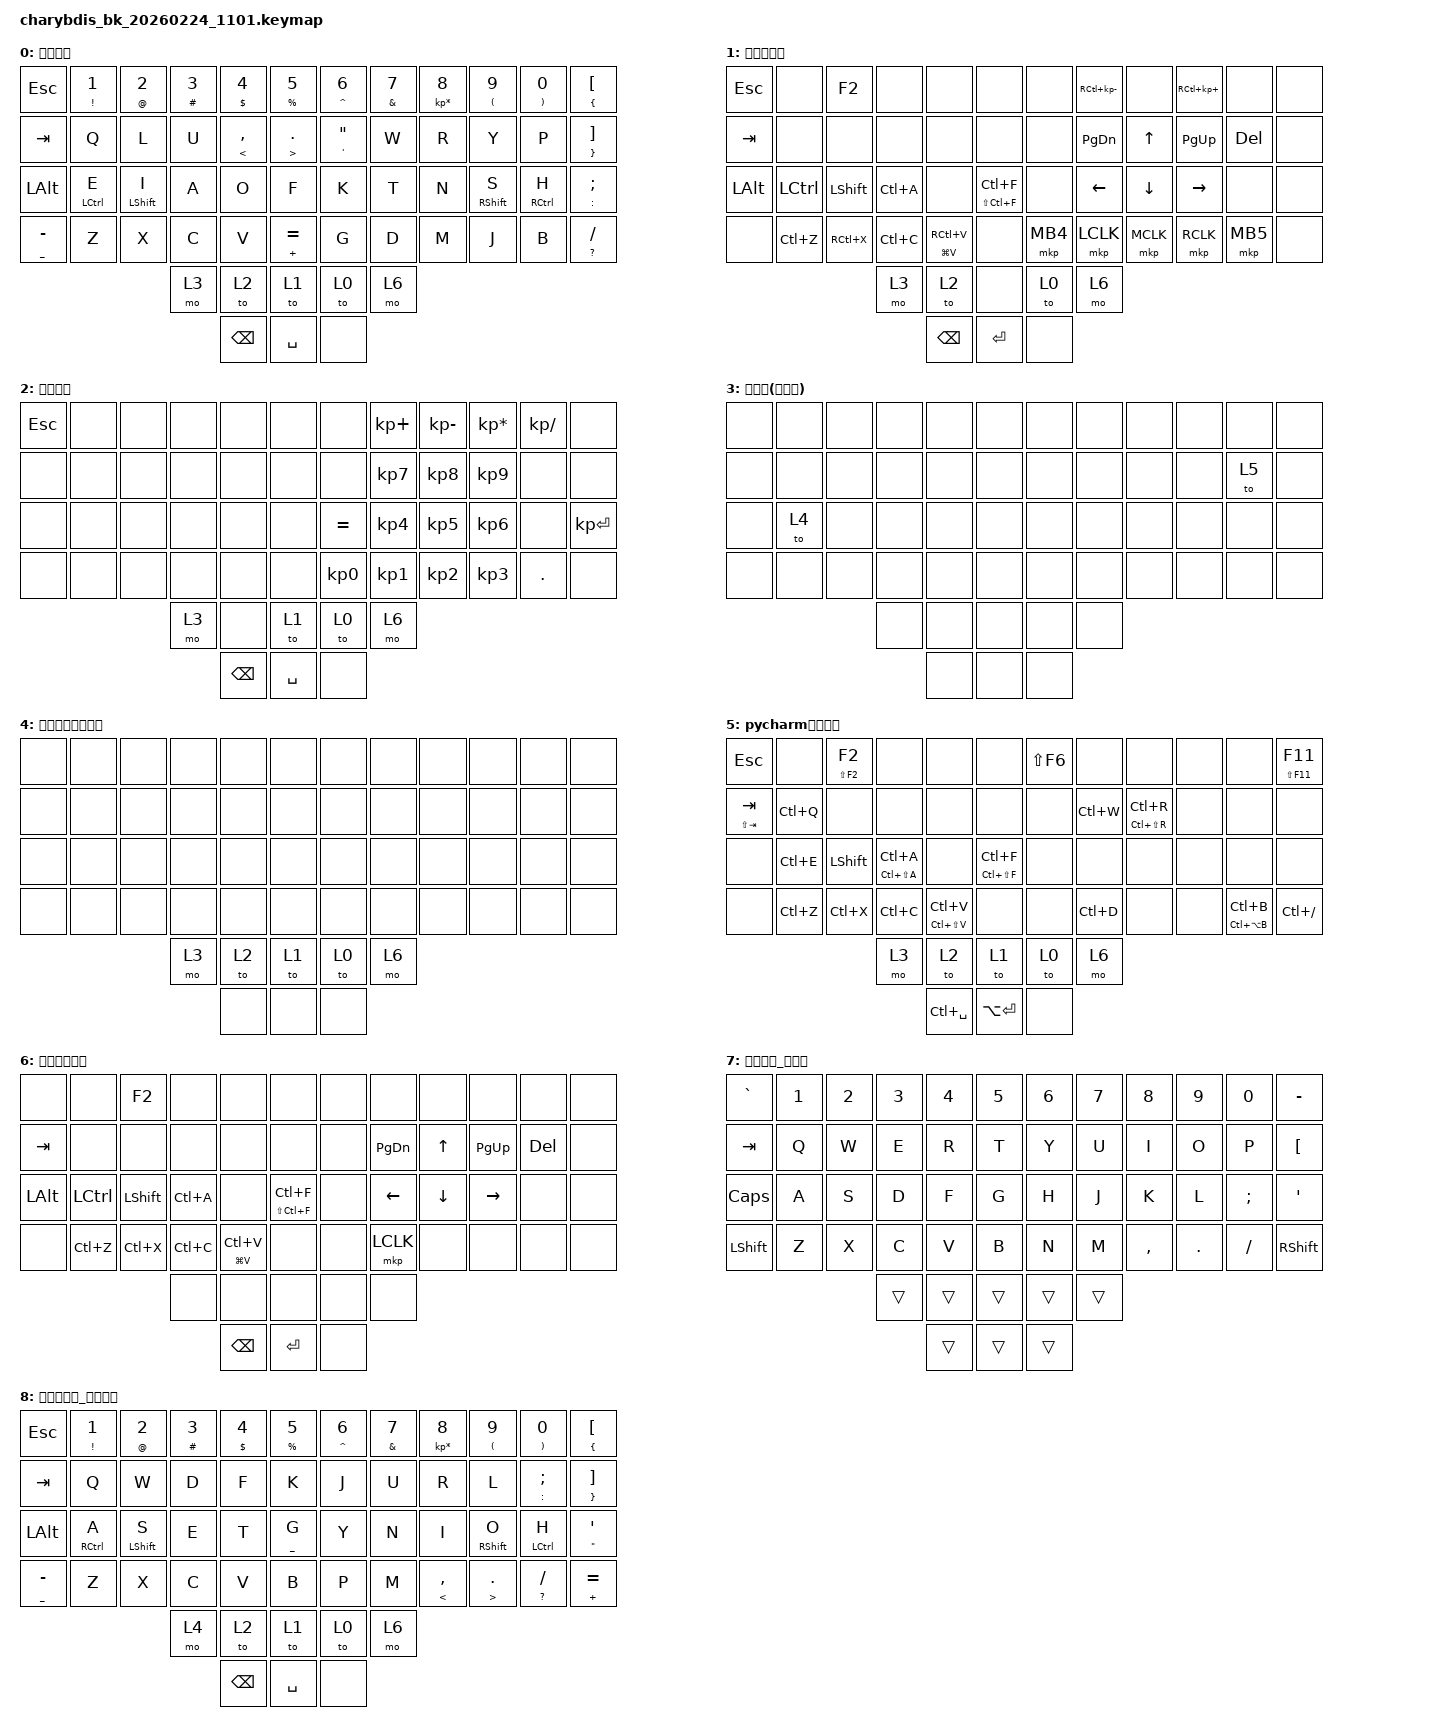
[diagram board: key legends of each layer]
#include <dt-bindings/zmk/mouse.h>
#include <behaviors/mouse_keys.dtsi>
#include <behaviors.dtsi>
#include <dt-bindings/zmk/keys.h>
#include <dt-bindings/zmk/pointing.h>

/ {
    /* --- トラックボール入力設定 --- */

    trackball_listener {
        compatible = "zmk,input-behavior-listener";
        device = <&vtrackball>;
        status = "okay";

        /* 根拠: 0,1,2の全レイヤーでマウス移動を許可する */

        layers = <0 1 2 3 4 5 6 7>; // <-- ここを修正
        evt-type = <INPUT_EV_REL>;
        x-input-code = <INPUT_REL_X>;
        y-input-code = <INPUT_REL_Y>;
        scale-multiplier = <1>;
        scale-divisor = <4>;
    };

    /* --- レイヤー3専用：低速設定（DPI変更） --- */
    /* ----------
    trackball_snipe_listener {
        compatible = "zmk,input-behavior-listener";
        device = <&vtrackball>;
        status = "okay";

        // 下記レイヤーの時だけこの設定を適用する

        layers = <2 3>;
        evt-type = <INPUT_EV_REL>;
        x-input-code = <INPUT_REL_X>;
        y-input-code = <INPUT_REL_Y>;
        scale-multiplier = <1>;

        // 根拠: 分母を大きくすると、マウスはより精密（低速）に動きます

        scale-divisor = <16>; // 2から8に変えることで、通常より4倍遅くなります
    };


    trackball_scroll_listener {
        compatible = "zmk,input-behavior-listener";
        device = <&vtrackball>;
        layers = <9>;
        evt-type = <INPUT_EV_REL>;
        x-input-code = <INPUT_REL_MISC>;
        y-input-code = <INPUT_REL_WHEEL>;
        y-invert;
        bindings = <&ib_wheel_scaler 1 14>;
    };

    --------- */

    ib_wheel_scaler: ib_wheel_scaler {
        compatible = "zmk,input-behavior-scaler";
        #binding-cells = <2>;
        evt-type = <INPUT_EV_REL>;
        input-code = <INPUT_REL_WHEEL>;
    };

    /* --- コンボ設定 --- */

    combos {
        compatible = "zmk,combos";

        zenkaku-hankaku-toggle {
            bindings = <&kp GRAVE>;
            key-positions = <14 13>;
            timeout-ms = <60>;
            require-prior-idle-ms = <100>;
            layers = <0 2 1 3>;
            slow-release;
        };

        voice_input {
            bindings = <&kp RC(RS(SPACE))>;
            key-positions = <36 37>;
            layers = <3 1 0 2 6>;
        };
    };

    /* --- 特殊挙動定義 (エラー解消の根拠) --- */

    behaviors {
        auto_shift: auto_shift {
            compatible = "zmk,behavior-hold-tap";
            label = "AUTO_SHIFT";
            #binding-cells = <2>;
            flavor = "tap-preferred";
            tapping-term-ms = <280>;
            quick-tap-ms = <175>;
            bindings = <&kp>, <&kp>;
        };

        hmr: hmr {
            compatible = "zmk,behavior-hold-tap";
            label = "HMR";
            #binding-cells = <2>;
            tapping-term-ms = <190>;
            quick-tap-ms = <175>;
            flavor = "balanced";
            bindings = <&kp>, <&kp>;

            hold-trigger-key-positions = <0 1 2 3 4 5 12 13 14 15 16 17 24 25 26 27 28 29 36 37 38 39 40 41 48 49 50 51 52 53 54 55>;
        };

        hml: hml {
            compatible = "zmk,behavior-hold-tap";
            label = "HML";
            #binding-cells = <2>;
            tapping-term-ms = <190>;
            quick-tap-ms = <175>;
            flavor = "balanced";
            bindings = <&kp>, <&kp>;

            hold-trigger-key-positions = <6 7 8 9 10 11 18 19 20 21 22 23 30 31 32 33 34 35 42 43 44 45 46 47 48 49 50 51 52 53 54 55>;
        };
    };

    /* --- キーマップ --- */

    keymap {
        compatible = "zmk,keymap";

        onisi {
            label = "大西配列";
            bindings = <
&kp ESC                       &auto_shift EXCLAMATION N1  &auto_shift AT_SIGN N2  &auto_shift POUND N3  &auto_shift DOLLAR N4        &auto_shift PERCENT N5          &auto_shift CARET N6           &auto_shift AMPERSAND N7  &auto_shift KP_MULTIPLY N8  &auto_shift LEFT_PARENTHESIS N9  &auto_shift RIGHT_PARENTHESIS N0  &auto_shift LEFT_BRACE LEFT_BRACKET
&kp TAB                       &kp Q                       &kp L                   &kp U                 &auto_shift LESS_THAN COMMA  &auto_shift GREATER_THAN DOT    &auto_shift SQT DOUBLE_QUOTES  &kp W                     &kp R                       &kp Y                            &kp P                             &auto_shift RIGHT_BRACE RBKT
&kp LALT                      &auto_shift LCTRL E         &auto_shift LSHFT I     &kp A                 &kp O                        &kp F                           &kp K                          &kp T                     &kp N                       &auto_shift RSHFT S              &auto_shift RCTRL H               &auto_shift COLON SEMICOLON
&auto_shift UNDERSCORE MINUS  &kp Z                       &kp X                   &kp C                 &kp V                        &auto_shift PLUS EQUAL          &kp G                          &kp D                     &kp M                       &kp J                            &kp B                             &auto_shift QUESTION SLASH
                                                                                  &mo 3                 &to 2                        &to 1                           &to 0                          &mo 6
                                                                                                        &kp BSPC                     &kp SPACE                       &none
            >;
        };

        mouse {
            label = "マウス移動";
            bindings = <
&kp ESC   &none      &kp F2     &none      &none                    &none                          &none     &kp RC(KP_MINUS)  &none      &kp RC(KP_PLUS)  &none     &none
&kp TAB   &none      &none      &none      &none                    &none                          &none     &kp PAGE_DOWN     &kp UP     &kp PAGE_UP      &kp DEL   &none
&kp LALT  &kp LCTRL  &kp LSHFT  &kp LC(A)  &none                    &auto_shift LS(LC(F)) LC(F)    &none     &kp LEFT          &kp DOWN   &kp RIGHT        &none     &none
&none     &kp LC(Z)  &kp RC(X)  &kp LC(C)  &auto_shift LG(V) RC(V)  &none                          &mkp MB4  &mkp LCLK         &mkp MCLK  &mkp RCLK        &mkp MB5  &none
                                &mo 3      &to 2                    &none                          &to 0     &mo 6
                                           &kp BSPC                 &kp RET                        &none
            >;
        };

        number {
            bindings = <
&kp ESC  &none  &none  &none  &none     &none        &none            &kp KP_PLUS      &kp KP_MINUS     &kp KP_ASTERISK  &kp KP_SLASH  &none
&none    &none  &none  &none  &none     &none        &none            &kp KP_NUMBER_7  &kp KP_NUMBER_8  &kp KP_NUMBER_9  &none         &none
&none    &none  &none  &none  &none     &none        &kp EQUAL        &kp KP_NUMBER_4  &kp KP_NUMBER_5  &kp KP_NUMBER_6  &none         &kp KP_ENTER
&none    &none  &none  &none  &none     &none        &kp KP_NUMBER_0  &kp KP_NUMBER_1  &kp KP_NUMBER_2  &kp KP_NUMBER_3  &kp DOT       &none
                       &mo 3  &none     &to 1        &to 0            &mo 6
                              &kp BSPC  &kp SPACE    &none
            >;

            label = "テンキー";
        };

        other_base {
            bindings = <
&none  &none  &none  &none  &none  &none    &none  &none  &none  &none  &none  &none
&none  &none  &none  &none  &none  &none    &none  &none  &none  &none  &to 5  &none
&none  &to 4  &none  &none  &none  &none    &none  &none  &none  &none  &none  &none
&none  &none  &none  &none  &none  &none    &none  &none  &none  &none  &none  &none
                     &none  &none  &none    &none  &none
                            &none  &none    &none
            >;

            label = "ベース(アプリ)";
        };

        Excel {
            bindings = <
&none  &none  &none  &none  &none  &none    &none  &none  &none  &none  &none  &none
&none  &none  &none  &none  &none  &none    &none  &none  &none  &none  &none  &none
&none  &none  &none  &none  &none  &none    &none  &none  &none  &none  &none  &none
&none  &none  &none  &none  &none  &none    &none  &none  &none  &none  &none  &none
                     &mo 3  &to 2  &to 1    &to 0  &mo 6
                            &none  &none    &none
            >;

            label = "エクセルコマンド";
        };

        pycharm_command {
            bindings = <
&kp ESC                  &none      &auto_shift LS(F2) F2  &none                        &none                        &none                          &kp LS(F6)  &none      &none                        &none  &none                        &auto_shift LS(F11) F11
&auto_shift LS(TAB) TAB  &kp LC(Q)  &none                  &none                        &none                        &none                          &none       &kp LC(W)  &auto_shift LC(LS(R)) LC(R)  &none  &none                        &none
&none                    &kp LC(E)  &kp LSHFT              &auto_shift LC(LS(A)) LC(A)  &none                        &auto_shift LC(LS(F)) LC(F)    &none       &none      &none                        &none  &none                        &none
&none                    &kp LC(Z)  &kp LC(X)              &kp LC(C)                    &auto_shift LC(LS(V)) LC(V)  &none                          &none       &kp LC(D)  &none                        &none  &auto_shift LC(LA(B)) LC(B)  &kp LC(SLASH)
                                                           &mo 3                        &to 2                        &to 1                          &to 0       &mo 6
                                                                                        &kp LC(SPACE)                &kp LA(ENTER)                  &none
            >;

            label = "pycharmコマンド";
        };

        edit {
            label = "文字入力確定";
            bindings = <
&none     &none      &kp F2     &none      &none                    &none                          &none  &none          &none     &none        &none    &none
&kp TAB   &none      &none      &none      &none                    &none                          &none  &kp PAGE_DOWN  &kp UP    &kp PAGE_UP  &kp DEL  &none
&kp LALT  &kp LCTRL  &kp LSHFT  &kp LC(A)  &none                    &auto_shift LS(LC(F)) LC(F)    &none  &kp LEFT       &kp DOWN  &kp RIGHT    &none    &none
&none     &kp LC(Z)  &kp LC(X)  &kp LC(C)  &auto_shift LG(V) LC(V)  &none                          &none  &mkp LCLK      &none     &none        &none    &none
                                &none      &none                    &none                          &none  &none
                                           &kp BSPC                 &kp RET                        &none
            >;
        };

        qwerty {
            bindings = <
&kp GRAVE  &kp N1  &kp N2  &kp N3  &kp N4  &kp N5    &kp N6  &kp N7  &kp N8     &kp N9   &kp N0    &kp MINUS
&kp TAB    &kp Q   &kp W   &kp E   &kp R   &kp T     &kp Y   &kp U   &kp I      &kp O    &kp P     &kp LBKT
&kp CAPS   &kp A   &kp S   &kp D   &kp F   &kp G     &kp H   &kp J   &kp K      &kp L    &kp SEMI  &kp APOS
&kp LSHFT  &kp Z   &kp X   &kp C   &kp V   &kp B     &kp N   &kp M   &kp COMMA  &kp DOT  &kp FSLH  &kp RSHFT
                           &trans  &trans  &trans    &trans  &trans
                                   &trans  &trans    &trans
            >;

            label = "テスト用_ダミー";
        };

        not_use_norman {
            bindings = <
&kp ESC                  &auto_shift EXCLAMATION N1  &auto_shift AT_SIGN N2    &auto_shift POUND N3  &auto_shift DOLLAR N4  &auto_shift PERCENT N5    &auto_shift CARET N6  &auto_shift AMPERSAND N7  &auto_shift KP_ASTERISK N8  &auto_shift LEFT_PARENTHESIS N9  &auto_shift RIGHT_PARENTHESIS N0  &auto_shift LEFT_BRACE LEFT_BRACKET
&kp TAB                  &kp Q                       &kp W                     &kp D                 &kp F                  &kp K                     &kp J                 &kp U                     &kp R                       &kp L                            &auto_shift COLON SEMICOLON       &auto_shift RIGHT_BRACE RIGHT_BRACKET
&kp LALT                 &auto_shift RCTRL A         &auto_shift LEFT_SHIFT S  &kp E                 &kp T                  &auto_shift UNDER G       &kp Y                 &kp N                     &kp I                       &auto_shift RIGHT_SHIFT O        &auto_shift LCTRL H               &auto_shift DOUBLE_QUOTES SQT
&auto_shift UNDER MINUS  &kp Z                       &kp X                     &kp C                 &kp V                  &kp B                     &kp P                 &kp M                     &auto_shift LT COMMA        &auto_shift GREATER_THAN DOT     &auto_shift QUESTION SLASH        &auto_shift PLUS EQUAL
                                                                               &mo 4                 &to 2                  &to 1                     &to 0                 &mo 6
                                                                                                     &kp BACKSPACE          &kp SPACE                 &none
            >;

            label = "現在未使用_英語配列";
        };
    };
};
